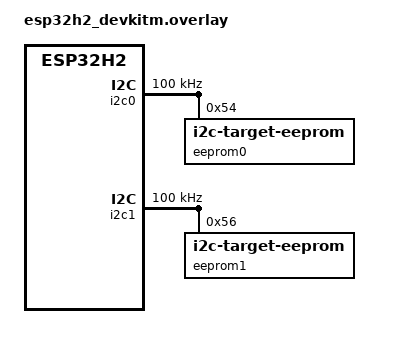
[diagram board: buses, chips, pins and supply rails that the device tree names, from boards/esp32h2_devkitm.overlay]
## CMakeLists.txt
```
# SPDX-License-Identifier: Apache-2.0

cmake_minimum_required(VERSION 3.28.0)

find_package(Zephyr REQUIRED HINTS $ENV{ZEPHYR_BASE})
project(i2c_pm)

target_sources(app PRIVATE src/main.c)
```

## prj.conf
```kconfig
CONFIG_ZTEST=y
CONFIG_I2C=y
CONFIG_I2C_TARGET=y
CONFIG_I2C_EEPROM_TARGET=y
```

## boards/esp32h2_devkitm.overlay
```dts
/*
 * Copyright (c) 2026 Espressif Systems (Shanghai) Co., Ltd.
 *
 * SPDX-License-Identifier: Apache-2.0
 *
 * External-loopback overlay for the I2C power-management test.
 *
 * Wire up two physical jumpers on the devkit:
 *   GPIO22 (i2c0 SDA) <-> GPIO12 (i2c1 SDA)
 *   GPIO27 (i2c0 SCL) <-> GPIO11 (i2c1 SCL)
 *
 * The two controllers act as master and target on the same bus, with one
 * physical pair shared via the jumper. Internal pull-ups are enabled; an
 * external 4.7k pull-up to 3V3 on each line is recommended for reliable
 * operation above 100 kHz.
 */

&pinctrl {
	i2c0_default: i2c0_default {
		group1 {
			pinmux = <I2C0_SDA_GPIO22>,
				 <I2C0_SCL_GPIO27>;
			bias-pull-up;
			drive-open-drain;
			output-high;
		};
	};

	i2c1_default: i2c1_default {
		group1 {
			pinmux = <I2C1_SDA_GPIO12>,
				 <I2C1_SCL_GPIO11>;
			bias-pull-up;
			drive-open-drain;
			output-high;
		};
	};
};

&i2c0 {
	clock-frequency = <I2C_BITRATE_STANDARD>;
	pinctrl-0 = <&i2c0_default>;
	pinctrl-names = "default";
	status = "okay";

	eeprom0: eeprom@54 {
		compatible = "zephyr,i2c-target-eeprom";
		reg = <0x54>;
		size = <256>;
	};
};

&i2c1 {
	clock-frequency = <I2C_BITRATE_STANDARD>;
	pinctrl-0 = <&i2c1_default>;
	pinctrl-names = "default";
	status = "okay";

	eeprom1: eeprom@56 {
		compatible = "zephyr,i2c-target-eeprom";
		reg = <0x56>;
		size = <256>;
	};
};
```

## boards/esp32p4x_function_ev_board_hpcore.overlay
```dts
/*
 * Copyright (c) 2026 Espressif Systems (Shanghai) Co., Ltd.
 *
 * SPDX-License-Identifier: Apache-2.0
 *
 * External-loopback overlay for the I2C power-management test.
 *
 * GPIO7/GPIO8 are the onboard touch bus, so the loopback uses header
 * pins that are not connected to another device.
 *
 * Wire up two physical jumpers on J1:
 *   GPIO2 (i2c0 SDA) <-> GPIO32 (i2c1 SDA)
 *   GPIO3 (i2c0 SCL) <-> GPIO33 (i2c1 SCL)
 */

&pinctrl {
	i2c0_loopback: i2c0_loopback {
		group1 {
			pinmux = <I2C0_SDA_GPIO2>,
				 <I2C0_SCL_GPIO3>;
			bias-pull-up;
			drive-open-drain;
			output-high;
		};
	};

	i2c1_default: i2c1_default {
		group1 {
			pinmux = <I2C1_SDA_GPIO32>,
				 <I2C1_SCL_GPIO33>;
			bias-pull-up;
			drive-open-drain;
			output-high;
		};
	};
};

&gt911 {
	status = "disabled";
};

&i2c0 {
	pinctrl-0 = <&i2c0_loopback>;
	pinctrl-names = "default";
	clock-frequency = <I2C_BITRATE_STANDARD>;

	eeprom0: eeprom@54 {
		compatible = "zephyr,i2c-target-eeprom";
		reg = <0x54>;
		size = <256>;
	};
};

&i2c1 {
	clock-frequency = <I2C_BITRATE_STANDARD>;
	pinctrl-0 = <&i2c1_default>;
	pinctrl-names = "default";
	status = "okay";

	eeprom1: eeprom@56 {
		compatible = "zephyr,i2c-target-eeprom";
		reg = <0x56>;
		size = <256>;
	};
};
```

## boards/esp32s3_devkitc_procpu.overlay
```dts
/*
 * Copyright (c) 2026 Espressif Systems (Shanghai) Co., Ltd.
 *
 * SPDX-License-Identifier: Apache-2.0
 *
 * External-loopback overlay for the I2C power-management test.
 *
 * Wire up two physical jumpers on the devkit:
 *   GPIO4 (i2c0 SDA) <-> GPIO6 (i2c1 SDA)
 *   GPIO5 (i2c0 SCL) <-> GPIO7 (i2c1 SCL)
 */

&pinctrl {
	i2c0_default: i2c0_default {
		group1 {
			pinmux = <I2C0_SDA_GPIO4>,
				 <I2C0_SCL_GPIO5>;
			bias-pull-up;
			drive-open-drain;
			output-high;
		};
	};

	i2c1_default: i2c1_default {
		group1 {
			pinmux = <I2C1_SDA_GPIO6>,
				 <I2C1_SCL_GPIO7>;
			bias-pull-up;
			drive-open-drain;
			output-high;
		};
	};
};

&i2c0 {
	clock-frequency = <I2C_BITRATE_STANDARD>;
	pinctrl-0 = <&i2c0_default>;
	pinctrl-names = "default";
	status = "okay";

	eeprom0: eeprom@54 {
		compatible = "zephyr,i2c-target-eeprom";
		reg = <0x54>;
		size = <256>;
	};
};

&i2c1 {
	clock-frequency = <I2C_BITRATE_STANDARD>;
	pinctrl-0 = <&i2c1_default>;
	pinctrl-names = "default";
	status = "okay";

	eeprom1: eeprom@56 {
		compatible = "zephyr,i2c-target-eeprom";
		reg = <0x56>;
		size = <256>;
	};
};
```

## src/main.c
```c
/*
 * SPDX-FileCopyrightText: Copyright (c) 2026 Espressif Systems (Shanghai) CO LTD
 * SPDX-License-Identifier: Apache-2.0
 */

#include <string.h>

#include <zephyr/kernel.h>
#include <zephyr/ztest.h>
#include <zephyr/drivers/i2c.h>
#include <zephyr/drivers/i2c/target/eeprom.h>
#include <zephyr/pm/pm.h>
#include <zephyr/pm/policy.h>

#if defined(CONFIG_SMP)
#include <zephyr/arch/cpu.h>
#endif

#define NODE_EP0 DT_NODELABEL(eeprom0)
#define NODE_EP1 DT_NODELABEL(eeprom1)

#define I2C_PM_LEN 16
#define I2C_PM_MIN_IDLE_MS 100
#define I2C_PM_IDLE_MARGIN_MS 10

static atomic_t i2c_pm_entries[PM_STATE_COUNT];
static bool i2c_pm_registered;
static bool i2c_pm_notifier_on;

static void count_state_entry(enum pm_state state)
{
	if (state < PM_STATE_COUNT) {
		atomic_inc(&i2c_pm_entries[state]);
	}
}

static struct pm_notifier i2c_pm_notifier = {
	.state_entry = count_state_entry,
};

static void reset_state_counts(void)
{
	for (int state = 0; state < PM_STATE_COUNT; state++) {
		atomic_clear(&i2c_pm_entries[state]);
	}
}

static const char *get_state_name(enum pm_state state)
{
	switch (state) {
	case PM_STATE_ACTIVE:
		return "PM_STATE_ACTIVE";
	case PM_STATE_RUNTIME_IDLE:
		return "PM_STATE_RUNTIME_IDLE";
	case PM_STATE_SUSPEND_TO_IDLE:
		return "PM_STATE_SUSPEND_TO_IDLE";
	case PM_STATE_STANDBY:
		return "PM_STATE_STANDBY";
	case PM_STATE_SUSPEND_TO_RAM:
		return "PM_STATE_SUSPEND_TO_RAM";
	case PM_STATE_SUSPEND_TO_DISK:
		return "PM_STATE_SUSPEND_TO_DISK";
	case PM_STATE_SOFT_OFF:
		return "PM_STATE_SOFT_OFF";
	default:
		return "unknown";
	}
}

static bool report_state_counts(void)
{
	bool entered = false;

	for (int state = 0; state < PM_STATE_COUNT; state++) {
		atomic_val_t count = atomic_get(&i2c_pm_entries[state]);

		if (count > 0) {
			printk("entered %s, count %ld\n",
			       get_state_name((enum pm_state)state), (long)count);
			entered = true;
		}
	}

	return entered;
}

static uint8_t get_cpu_id(void)
{
#if defined(CONFIG_SMP)
	return arch_curr_cpu()->id;
#else
	return 0U;
#endif
}

static uint32_t get_sleep_time_ms(const struct pm_state_info *state)
{
	uint64_t need_us = (uint64_t)state->min_residency_us + state->exit_latency_us;
	uint32_t need_ms = (uint32_t)DIV_ROUND_UP(need_us, 1000U);

	if (need_ms < I2C_PM_MIN_IDLE_MS) {
		return I2C_PM_MIN_IDLE_MS;
	}

	return need_ms + I2C_PM_IDLE_MARGIN_MS;
}

static void lock_other_states(const struct pm_state_info *states, uint8_t count,
			      const struct pm_state_info *keep, bool lock)
{
	for (uint8_t i = 0; i < count; i++) {
		if (&states[i] == keep) {
			continue;
		}

		if (lock) {
			pm_policy_state_lock_get(states[i].state, states[i].substate_id);
		} else {
			pm_policy_state_lock_put(states[i].state, states[i].substate_id);
		}
	}
}

static int check_transfer(const struct device *i2c, uint16_t addr)
{
	uint8_t tx[1 + I2C_PM_LEN];
	uint8_t rx[I2C_PM_LEN];
	int ret;

	tx[0] = 0;
	for (int i = 0; i < I2C_PM_LEN; i++) {
		tx[i + 1] = (uint8_t)i;
	}

	memset(rx, 0, sizeof(rx));

	ret = i2c_write(i2c, tx, sizeof(tx), addr);
	if (ret != 0) {
		TC_PRINT("I2C write failed, code %d\n", ret);
		return -TC_FAIL;
	}

	ret = i2c_write_read(i2c, addr, tx, 1, rx, sizeof(rx));
	if (ret != 0) {
		TC_PRINT("I2C read failed, code %d\n", ret);
		return -TC_FAIL;
	}

	if (memcmp(&tx[1], rx, sizeof(rx)) != 0) {
		TC_PRINT("RX buffer does not match TX\n");
		return -TC_FAIL;
	}

	return TC_PASS;
}

/* The target holds a PM lock while it is registered, so the idle runs detached.
 * The second pass repeats that after a finished transfer.
 */
static int check_target_after_idle(const struct pm_state_info *state, uint32_t idle_ms)
{
	const struct device *const eeprom = DEVICE_DT_GET(NODE_EP0);
	const struct device *const i2c = DEVICE_DT_GET(DT_BUS(NODE_EP1));
	uint16_t addr = DT_REG_ADDR(NODE_EP0);

	for (int cycle = 0; cycle < 2; cycle++) {
		int ret;

		reset_state_counts();
		k_msleep(idle_ms);
		(void)report_state_counts();
		if (atomic_get(&i2c_pm_entries[state->state]) <= 0) {
			TC_PRINT("power state %s was not entered\n", get_state_name(state->state));
			return -TC_FAIL;
		}

		ret = i2c_target_driver_register(eeprom);
		if (ret != 0) {
			TC_PRINT("Failed to register EEPROM target, code %d\n", ret);
			return -TC_FAIL;
		}
		i2c_pm_registered = true;

		ret = check_transfer(i2c, addr);
		if (ret != TC_PASS) {
			int unreg;

			unreg = i2c_target_driver_unregister(eeprom);
			i2c_pm_registered = false;
			if (unreg != 0) {
				TC_PRINT("Failed to unregister EEPROM target, code %d\n", unreg);
			}

			return ret;
		}

		ret = i2c_target_driver_unregister(eeprom);
		i2c_pm_registered = false;
		if (ret != 0) {
			TC_PRINT("Failed to unregister EEPROM target, code %d\n", ret);
			return -TC_FAIL;
		}
	}

	return TC_PASS;
}

static void run_in_each_state(int (*fn)(const struct pm_state_info *state, uint32_t idle_ms))
{
	const struct pm_state_info *states;
	uint8_t count = pm_state_cpu_get_all(get_cpu_id(), &states);
	bool tested = false;

	for (uint8_t i = 0; i < count; i++) {
		const struct pm_state_info *state = &states[i];
		uint32_t sleep_ms;
		int ret;

		if (state->state == PM_STATE_SOFT_OFF) {
			continue;
		}

		sleep_ms = get_sleep_time_ms(state);
		tested = true;
		if (state->substate_id == 0U) {
			printk("testing %s for %u ms\n", get_state_name(state->state), sleep_ms);
		} else {
			printk("testing %s substate %u for %u ms\n", get_state_name(state->state),
			       state->substate_id, sleep_ms);
		}

		lock_other_states(states, count, state, true);
		ret = fn(state, sleep_ms);
		lock_other_states(states, count, state, false);
		zassert_equal(ret, TC_PASS);
	}

	zassert_true(tested, "no idle power state is enabled");
}

static void i2c_pm_teardown(void *fixture)
{
	const struct device *const eeprom = DEVICE_DT_GET(NODE_EP0);

	ARG_UNUSED(fixture);

	if (i2c_pm_registered) {
		(void)i2c_target_driver_unregister(eeprom);
		i2c_pm_registered = false;
	}

	if (i2c_pm_notifier_on) {
		(void)pm_notifier_unregister(&i2c_pm_notifier);
		i2c_pm_notifier_on = false;
	}
}

ZTEST(i2c_pm, test_i2c)
{
	const struct device *const eeprom = DEVICE_DT_GET(NODE_EP0);
	const struct device *const i2c = DEVICE_DT_GET(DT_BUS(NODE_EP1));

	zassert_equal(DT_PROP_OR(NODE_EP0, address_width, 8), 8, "EEPROM address width is not 8");
	zassert_true(device_is_ready(eeprom), "EEPROM target is not ready");
	zassert_true(device_is_ready(i2c), "I2C controller is not ready");

	pm_notifier_register(&i2c_pm_notifier);
	i2c_pm_notifier_on = true;

	run_in_each_state(check_target_after_idle);
}

ZTEST_SUITE(i2c_pm, NULL, NULL, NULL, i2c_pm_teardown, NULL);
```
